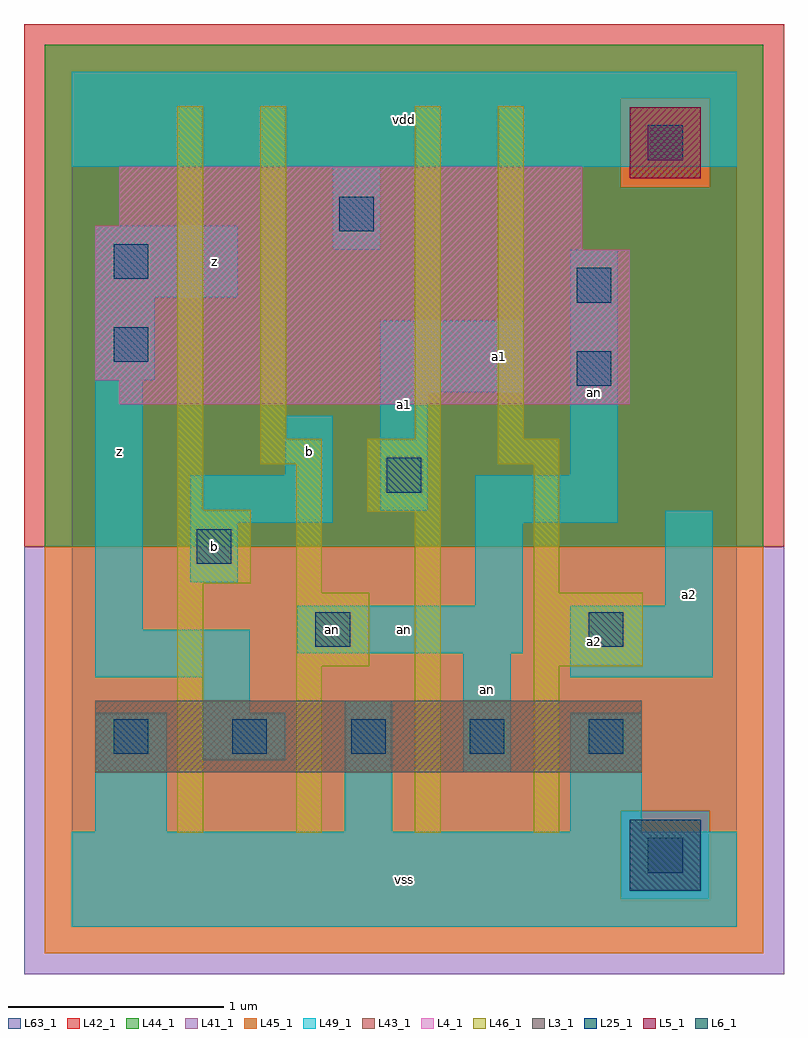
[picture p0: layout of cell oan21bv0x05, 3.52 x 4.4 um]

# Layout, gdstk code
import gdstk
lib = gdstk.Library(unit=1e-6, precision=1e-09)
def R(c, l, rs):  # rectangles x0, y0, x1, y1
    for r in rs: c.add(gdstk.rectangle(r[:2], r[2:], *l))
def A(c, l, x, y, w, h, nx, ny, dx, dy):  # array of equal rectangles
    R(c, l, [(x+i*dx, y+j*dy, x+i*dx+w, y+j*dy+h) for i in range(nx) for j in range(ny)])
L3_1 = (3, 1)
L4_1 = (4, 1)
L5_1 = (5, 1)
L6_1 = (6, 1)
L25_1 = (25, 1)
L41_1 = (41, 1)
L42_1 = (42, 1)
L43_1 = (43, 1)
L44_1 = (44, 1)
L45_1 = (45, 1)
L46_1 = (46, 1)
L49_1 = (49, 1)
L63_1 = (63, 1)

oan21bv0x05 = lib.new_cell('oan21bv0x05')
R(oan21bv0x05, L3_1, [(0.11,0.715,2.64,1.045)])
R(oan21bv0x05, L4_1, [(0.22,2.42,2.585,2.53), (0.11,2.53,2.585,3.135), (0.11,3.135,2.365,3.245), (0.22,3.245,2.365,3.52)])
R(oan21bv0x05, L5_1, [(2.585,3.465,2.915,3.795)])
R(oan21bv0x05, L6_1, [(2.585,0.165,2.915,0.495)])
A(oan21bv0x05, L25_1, 0.195, 0.8, 0.16, 0.16, 5, 1, 0.55, 0)
R(oan21bv0x05, L25_1, [(2.67,0.25,2.83,0.41), (1.13,1.295,1.29,1.455), (2.395,1.295,2.555,1.455), (0.58,1.68,0.74,1.84), (1.46,2.01,1.62,2.17), (2.34,2.505,2.5,2.665), (0.195,2.615,0.355,2.775), (2.34,2.89,2.5,3.05), (0.195,3,0.355,3.16), (1.24,3.22,1.4,3.38), (2.67,3.55,2.83,3.71)])
R(oan21bv0x05, L41_1, [(-0.22,-0.22,3.3,1.76)])
R(oan21bv0x05, L42_1, [(-0.22,1.76,3.3,4.18)])
R(oan21bv0x05, L43_1, [(2.585,0.165,2.915,0.495), (0.11,0.715,2.64,1.045), (0.22,2.42,2.585,2.53), (0.11,2.53,2.585,3.135), (0.11,3.135,2.365,3.245), (0.22,3.245,2.365,3.52), (2.585,3.465,2.915,3.795)])
R(oan21bv0x05, L44_1, [(2.545,0.125,2.955,0.535), (-0.125,1.76,3.205,3.425), (-0.125,3.425,2.545,3.835), (2.955,3.425,3.205,3.835), (-0.125,3.835,3.205,4.085)])
R(oan21bv0x05, L45_1, [(-0.125,-0.125,3.205,0.125), (-0.125,0.125,2.545,0.535), (2.955,0.125,3.205,0.535), (-0.125,0.535,3.205,1.76), (2.545,3.425,2.955,3.835)])
R(oan21bv0x05, L46_1, [(0.49,0.435,0.61,1.59), (1.04,0.435,1.16,1.205), (1.59,0.435,1.71,1.92), (2.14,0.435,2.26,1.205), (1.04,1.205,1.38,1.545), (2.14,1.205,2.645,1.545), (1.04,1.545,1.16,2.14), (2.14,1.545,2.26,2.14), (0.49,1.59,0.83,1.93), (1.37,1.92,1.71,2.26), (0.49,1.93,0.61,3.8), (0.875,2.14,1.16,2.26), (1.975,2.14,2.26,2.26), (0.875,2.26,0.995,3.8), (1.59,2.26,1.71,3.8), (1.975,2.26,2.095,3.8)])
R(oan21bv0x05, L49_1, [(0,0,3.08,0.44), (0.11,0.44,0.44,0.99), (1.265,0.44,1.485,1.045), (2.31,0.44,2.64,0.99), (1.815,0.715,2.035,1.265), (0.605,0.77,0.99,0.99), (0.605,0.99,0.825,1.155), (0.11,1.155,0.825,1.375), (2.31,1.155,2.97,1.485), (1.045,1.265,2.09,1.485), (0.11,1.375,0.33,2.53), (1.87,1.485,2.09,1.87), (2.75,1.485,2.97,1.925), (0.55,1.595,0.77,1.87), (0.55,1.87,1.21,2.09), (1.87,1.87,2.53,2.09), (1.43,1.925,1.65,2.475), (0.99,2.09,1.21,2.365), (2.31,2.09,2.53,3.135), (1.43,2.475,2.09,2.805), (0.11,2.53,0.385,2.915), (0.11,2.915,0.77,3.245), (1.21,3.135,1.43,3.52), (0,3.52,3.08,3.96)])
R(oan21bv0x05, L63_1, [(0,0,3.08,3.96)])
oan21bv0x05.add(gdstk.Label('an', (1.21,1.375), layer=49, texttype=1))
oan21bv0x05.add(gdstk.Label('z', (0.22,2.2), layer=49, texttype=1))
oan21bv0x05.add(gdstk.Label('b', (0.66,1.76), layer=49, texttype=1))
oan21bv0x05.add(gdstk.Label('b', (1.1,2.2), layer=49, texttype=1))
oan21bv0x05.add(gdstk.Label('z', (0.66,3.08), layer=49, texttype=1))
oan21bv0x05.add(gdstk.Label('vss', (1.54,0.22), layer=49, texttype=1))
oan21bv0x05.add(gdstk.Label('an', (1.925,1.1), layer=49, texttype=1))
oan21bv0x05.add(gdstk.Label('an', (1.54,1.375), layer=49, texttype=1))
oan21bv0x05.add(gdstk.Label('a1', (1.54,2.42), layer=49, texttype=1))
oan21bv0x05.add(gdstk.Label('a1', (1.98,2.64), layer=49, texttype=1))
oan21bv0x05.add(gdstk.Label('vdd', (1.54,3.74), layer=49, texttype=1))
oan21bv0x05.add(gdstk.Label('a2', (2.42,1.32), layer=49, texttype=1))
oan21bv0x05.add(gdstk.Label('a2', (2.86,1.54), layer=49, texttype=1))
oan21bv0x05.add(gdstk.Label('an', (2.42,2.475), layer=49, texttype=1))

lib.write_gds('oan21bv0x05.gds')
